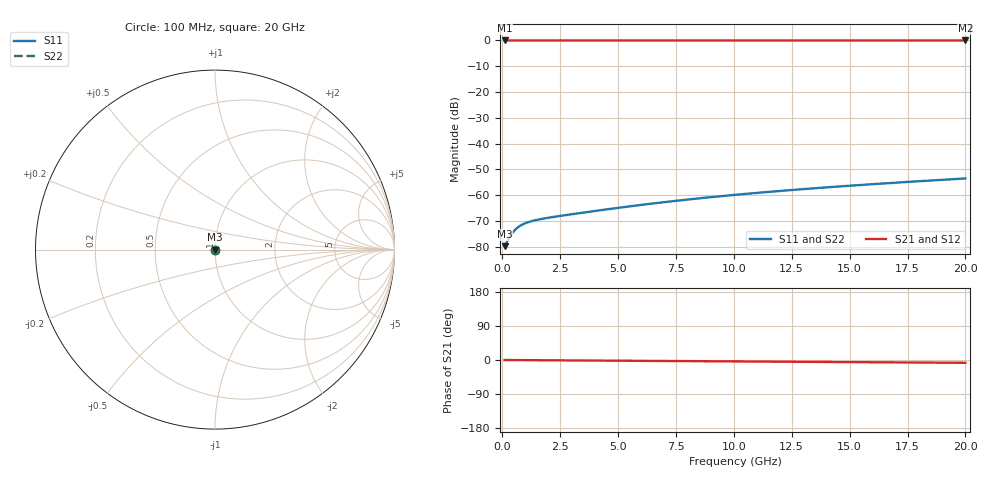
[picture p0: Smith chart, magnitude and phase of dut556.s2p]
! Touchstone file exported from HFSS 2026.1.0
!  File:  C:/ffzhzh/LocalFiles/Ansys_Project_Files/temp_train_TSV_556_1783024390_53980.aedt
!  Generated:  04:34:53 AM Jul  3, 2026
!  Design:  TSV
!  Project:  temp_train_TSV_556_1783024390_53980
! Variables:
!  h_bsmrdl = 2um
!  h_ox = 20um
!  h_rdl = 5um
!  h_sub = 73.16um
!  h_tmrdl = 5um
!  h_tsv = 73.16um
!  h_via = 3um
!  l_bsmrdl = 300um
!  l_sub = 422.96um
!  l_tmrdl = 200um
!  m_sub = 200um
!  pitch = 45.3um
!  r_tsv = 11.48um
!  s_tmrdl = 10um
!  w_bsmrdl = 18um
!  w_sub = 500um
!  w_tmrdl = 12um
!  x_tsv_center1 = 206um
!  x_tsv_center2 = 524um
!  x_tsv_center3 = 736um
!  x_tsv_center4 = 1054um
!  x_tsv_center5 = 1266um
!  x_tsv_center6 = 1584um
# GHz S MA R 50.000000
! Terminal data exported
! Port[1] = TSV1_1_T1
! Port[2] = TSV1_1_T2
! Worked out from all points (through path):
!   200 points, 100 MHz to 20 GHz, reference 50 ohm
!   highest |S21| = 0.00 dB at 100 MHz (marker M1); lowest = 0.0 dB at 20 GHz (marker M2)
!   group delay of S21, straight-line fit = 1.03 ps
!   lowest |S11| = -79.8 dB at 100 MHz (marker M3), VSWR 1.00, Z = 50 + j0.00302 ohm
!   |S11| at or under -10 dB: start of sweep to end of sweep
!   |S22| runs from -79.8 to -53.5 dB; largest |S21 - S12| = 4.1e-15
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0.1  0.0001023 17.2  0.9999 -0.0  0.9999 -0.0  0.0001023 17.2
! Gamma 0 0 0 0
! Port Impedance 50 0 50 0
0.3  0.0001496 32.6  0.9999 -0.1  0.9999 -0.1  0.0001496 32.6
0.4  0.0001761 33.7  0.9999 -0.2  0.9999 -0.2  0.0001761 33.7
0.5  0.0002008 33.0  0.9998 -0.2  0.9998 -0.2  0.0002007 33.0
0.6  0.0002227 31.4  0.9998 -0.2  0.9998 -0.2  0.0002227 31.4
0.7  0.0002419 29.4  0.9998 -0.3  0.9998 -0.3  0.0002419 29.4
0.8  0.0002586 27.2  0.9998 -0.3  0.9998 -0.3  0.0002586 27.2
0.9  0.000273 25.1  0.9998 -0.3  0.9998 -0.3  0.000273 25.1
1  0.0002857 23.0  0.9997 -0.4  0.9997 -0.4  0.0002857 23.0
1.1  0.0002968 21.1  0.9997 -0.4  0.9997 -0.4  0.0002968 21.1
1.3  0.0003157 17.5  0.9997 -0.5  0.9997 -0.5  0.0003157 17.5
1.7  0.0003456 11.4  0.9997 -0.6  0.9997 -0.6  0.0003456 11.4
2.3  0.000383 4.3  0.9996 -0.9  0.9996 -0.9  0.000383 4.3
3.5  0.0004582 -6.6  0.9995 -1.3  0.9995 -1.3  0.0004581 -6.6
5.2  0.0005818 -19.2  0.9994 -1.9  0.9994 -1.9  0.0005817 -19.2
6.8  0.000714 -28.8  0.9994 -2.5  0.9994 -2.5  0.0007139 -28.8
8.4  0.0008569 -36.8  0.9993 -3.1  0.9993 -3.1  0.0008567 -36.8
10.1  0.001017 -43.7  0.9992 -3.8  0.9992 -3.8  0.001017 -43.7
11.7  0.001176 -49.0  0.9992 -4.3  0.9992 -4.3  0.001175 -49.0
13.4  0.00135 -53.7  0.9991 -5.0  0.9991 -5.0  0.00135 -53.7
16.7  0.001711 -60.6  0.999 -6.2  0.999 -6.2  0.001711 -60.7
20  0.002105 -65.8  0.9989 -7.4  0.9989 -7.4  0.002104 -65.8
